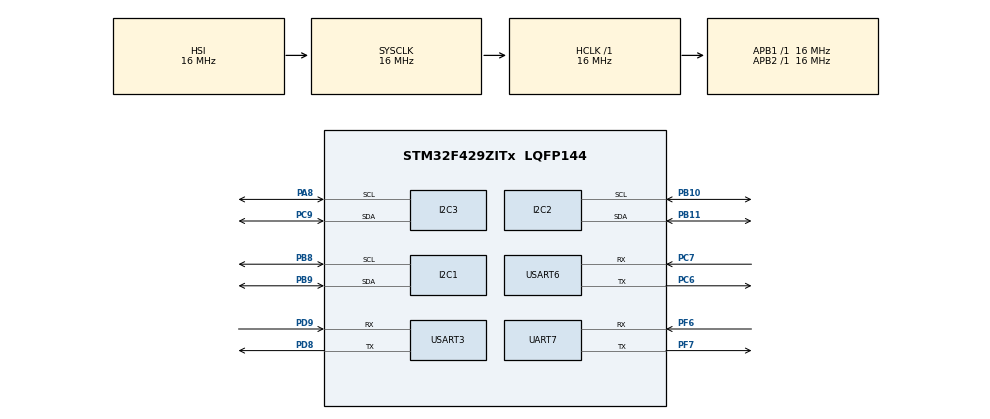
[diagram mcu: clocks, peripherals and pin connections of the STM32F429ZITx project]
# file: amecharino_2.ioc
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Mcu.Family=STM32F4
Mcu.Name=STM32F429ZITx
Mcu.Package=LQFP144
NVIC.PriorityGroup=NVIC_PRIORITYGROUP_4
NVIC.TIM3_IRQn=true\:0\:0\:false\:false\:true\:true\:true\:true
NVIC.TIM4_IRQn=true\:0\:0\:false\:false\:true\:true\:true\:true
NVIC.UART7_IRQn=true\:0\:0\:false\:false\:true\:true\:true\:true
NVIC.USART3_IRQn=true\:0\:0\:false\:false\:true\:true\:true\:true
NVIC.USART6_IRQn=true\:0\:0\:false\:false\:true\:true\:true\:true
PA8.Mode=I2C
PA8.Signal=I2C3_SCL
PB10.Mode=I2C
PB10.Signal=I2C2_SCL
PB11.Mode=I2C
PB11.Signal=I2C2_SDA
PB8.Mode=I2C
PB8.Signal=I2C1_SCL
PB9.Mode=I2C
PB9.Signal=I2C1_SDA
PC6.Mode=Asynchronous
PC6.Signal=USART6_TX
PC7.Mode=Asynchronous
PC7.Signal=USART6_RX
PC9.Mode=I2C
PC9.Signal=I2C3_SDA
PD8.Mode=Asynchronous
PD8.Signal=USART3_TX
PD9.Mode=Asynchronous
PD9.Signal=USART3_RX
PF6.Mode=Asynchronous
PF6.Signal=UART7_RX
PF7.Mode=Asynchronous
PF7.Signal=UART7_TX
ProjectManager.HeapSize=0x200
ProjectManager.StackSize=0x400
ProjectManager.TargetToolchain=STM32CubeIDE
RCC.AHBFreq_Value=16000000
RCC.APB1Freq_Value=16000000
RCC.APB2Freq_Value=16000000
RCC.CortexFreq_Value=16000000
RCC.HSE_VALUE=25000000
RCC.HSI_VALUE=16000000
RCC.LSE_VALUE=32768
RCC.SYSCLKFreq_VALUE=16000000
RCC.VCOOutputFreq_Value=192000000
TIM3.Prescaler=1599
TIM4.Prescaler=1599
UART7.VirtualMode=Asynchronous
USART3.VirtualMode=VM_ASYNC
USART6.VirtualMode=VM_ASYNC
VP_TIM3_VS_ClockSourceINT.Mode=Internal
VP_TIM4_VS_ClockSourceINT.Mode=Internal
board=custom

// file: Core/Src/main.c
/* USER CODE BEGIN Header */
/**
  ******************************************************************************
  * @file           : main.c
  * @brief          : Main program body
  ******************************************************************************
  * @attention
  *
  * Copyright (c) 2025 STMicroelectronics.
  * All rights reserved.
  *
  * This software is licensed under terms that can be found in the LICENSE file
  * in the root directory of this software component.
  * If no LICENSE file comes with this software, it is provided AS-IS.
  *
  ******************************************************************************
  */
/* USER CODE END Header */
#include "main.h"

/* USER CODE BEGIN Includes */
#include "bno055_stm32.h"
#include "VL53L0X.h"
#include "pca9685.h"
#include <stdio.h>
#include <string.h>
#include <math.h>
/* USER CODE END Includes */

/* USER CODE BEGIN PD */
#define TRUE 1
#define FALSE 0
/* USER CODE END PD */

I2C_HandleTypeDef hi2c1;
I2C_HandleTypeDef hi2c2;
I2C_HandleTypeDef hi2c3;

TIM_HandleTypeDef htim3;
TIM_HandleTypeDef htim4;

UART_HandleTypeDef huart7;
UART_HandleTypeDef huart3;
UART_HandleTypeDef huart6;

/* USER CODE BEGIN PV */
static uint8_t rx_data_3;
static uint8_t rx_data_6;
static uint8_t serialBuf[100];

static uint8_t ir_flag        = 0;
static uint8_t servo_open     = 0;
static uint8_t servo_close    = 0;
static uint8_t lifting_check  = 0;

static uint8_t left_flag      = 0;
static uint8_t right_flag     = 0;
static uint8_t forward_flag   = 0;
static uint8_t backward_flag  = 0;

static float heading          = 0.0f;
static float init_heading     = 0.0f;
static float raw_3            = 0.0f;
static float raw_4            = 0.0f;
static float delta_3          = 0.0f;
static float delta_4          = 0.0f;

static uint8_t delta_count          = 0;
static uint8_t correcting_direction = 0;
static uint8_t stop_sent            = 0;
static uint8_t return_mode          = 0;
/* USER CODE END PV */

void SystemClock_Config(void);
static void MX_GPIO_Init(void);
static void MX_I2C1_Init(void);
static void MX_I2C2_Init(void);
static void MX_I2C3_Init(void);
static void MX_UART7_Init(void);
static void MX_USART3_UART_Init(void);
static void MX_TIM3_Init(void);
static void MX_USART6_UART_Init(void);
static void MX_TIM4_Init(void);

int main(void)
{

  /* MCU Configuration--------------------------------------------------------*/

  /* Reset of all peripherals, Initializes the Flash interface and the Systick. */
  HAL_Init();

  /* Configure the system clock */
  SystemClock_Config();

  /* Initialize all configured peripherals */
  MX_GPIO_Init();
  MX_I2C1_Init();
  MX_I2C2_Init();
  MX_I2C3_Init();
  MX_UART7_Init();
  MX_USART3_UART_Init();
  MX_TIM3_Init();
  MX_USART6_UART_Init();
  MX_TIM4_Init();
  /* USER CODE BEGIN 2 */
  HAL_UART_Receive_IT(&huart6, &rx_data_6, 1);
  HAL_UART_Receive_IT(&huart3, &rx_data_3, 1);

  char msgBuffer[52];
  for (uint8_t i = 0; i < 52; i++) {
	  msgBuffer[i] = ' ';
  }

  PCA9685_Init(50); // 50Hz
  bno055_assignI2C(&hi2c2);
  bno055_setup();
  bno055_setOperationModeNDOF();

  sprintf(msgBuffer, "BNO start \r\n");
  HAL_UART_Transmit(&huart3, (uint8_t*) msgBuffer, strlen(msgBuffer), 50);

  HAL_Delay(20);
  PCA9685_Init(50); // 50Hz

  PCA9685_SetServoAngle(0, 123);
  PCA9685_SetServoAngle(1, 110);	//오른쪽 위
  PCA9685_SetServoAngle(2, 115);    //왼쪽 아래
  PCA9685_SetServoAngle(3, 117);
  HAL_Delay(500);

	sprintf(msgBuffer, "Servo start \r\n");
	HAL_UART_Transmit(&huart3, (uint8_t*) msgBuffer, strlen(msgBuffer), 50);

  //Initialise the VL53L0X
  statInfo_t_VL53L0X distanceStr;
  initVL53L0X(1, &hi2c3);
  startContinuous(20);

  sprintf(msgBuffer, "VL53L0X start \r\n");
  	HAL_UART_Transmit(&huart3, (uint8_t*) msgBuffer, strlen(msgBuffer), 50);

  /* USER CODE END 2 */

  /* Infinite loop */
  /* USER CODE BEGIN WHILE */
  while (1)
  {

	  if (IR_flag == 1) {
	      uint8_t distance = readRangeSingleMillimeters(&distanceStr);
	      sprintf(msgBuffer, "Distance: %d\r\n", distance);
	      HAL_UART_Transmit(&huart3, (uint8_t*) msgBuffer, strlen(msgBuffer), 50);
	      HAL_Delay(20);

	      if (distance < 180) {
	          IR_flag = 0;
	          sprintf((char *)serialBuf, "9");
	          HAL_UART_Transmit(&huart6, serialBuf, strlen((char *)serialBuf), HAL_MAX_DELAY);
	      }
	  }

	  else if (Servo_open == 1) {

	      for (uint8_t i = 0; i <= 97; i++) {

 	          PCA9685_SetServoAngle(0, 123 - i);
 	          PCA9685_SetServoAngle(1, 110 + i);
 	          PCA9685_SetServoAngle(2, 115 + i);
 	          PCA9685_SetServoAngle(3, 117 - i);
	          HAL_Delay(10);
	      }

	      Servo_open = 0;
	      Lifting_check = 1;

	  }

	  else if (Servo_close == 1) {

	      for (uint8_t i = 0; i <= 97; i++) {

	          PCA9685_SetServoAngle(0, 26 + i);
			  PCA9685_SetServoAngle(1, 207 -  i);
			  PCA9685_SetServoAngle(2, 212 - i);
			  PCA9685_SetServoAngle(3, 20 + i);
			  HAL_Delay(10);
	      }

	      Servo_close = 0;
	      Lifting_check = 0;

	  }

    /* USER CODE END WHILE */

  }
}

void SystemClock_Config(void)
{
  RCC_OscInitTypeDef RCC_OscInitStruct = {0};
  RCC_ClkInitTypeDef RCC_ClkInitStruct = {0};

  /** Configure the main internal regulator output voltage
  */
  __HAL_RCC_PWR_CLK_ENABLE();
  __HAL_PWR_VOLTAGESCALING_CONFIG(PWR_REGULATOR_VOLTAGE_SCALE3);

  /** Initializes the RCC Oscillators according to the specified parameters
  * in the RCC_OscInitTypeDef structure.
  */
  RCC_OscInitStruct.OscillatorType = RCC_OSCILLATORTYPE_HSI;
  RCC_OscInitStruct.HSIState = RCC_HSI_ON;
  RCC_OscInitStruct.HSICalibrationValue = RCC_HSICALIBRATION_DEFAULT;
  RCC_OscInitStruct.PLL.PLLState = RCC_PLL_NONE;
  if (HAL_RCC_OscConfig(&RCC_OscInitStruct) != HAL_OK)
  {
    Error_Handler();
  }

  /** Initializes the CPU, AHB and APB buses clocks
  */
  RCC_ClkInitStruct.ClockType = RCC_CLOCKTYPE_HCLK|RCC_CLOCKTYPE_SYSCLK
                              |RCC_CLOCKTYPE_PCLK1|RCC_CLOCKTYPE_PCLK2;
  RCC_ClkInitStruct.SYSCLKSource = RCC_SYSCLKSOURCE_HSI;
  RCC_ClkInitStruct.AHBCLKDivider = RCC_SYSCLK_DIV1;
  RCC_ClkInitStruct.APB1CLKDivider = RCC_HCLK_DIV1;
  RCC_ClkInitStruct.APB2CLKDivider = RCC_HCLK_DIV1;

  if (HAL_RCC_ClockConfig(&RCC_ClkInitStruct, FLASH_LATENCY_0) != HAL_OK)
  {
    Error_Handler();
  }
}

static void MX_I2C1_Init(void)
{

  hi2c1.Instance = I2C1;
  hi2c1.Init.ClockSpeed = 100000;
  hi2c1.Init.DutyCycle = I2C_DUTYCYCLE_2;
  hi2c1.Init.OwnAddress1 = 0;
  hi2c1.Init.AddressingMode = I2C_ADDRESSINGMODE_7BIT;
  hi2c1.Init.DualAddressMode = I2C_DUALADDRESS_DISABLE;
  hi2c1.Init.OwnAddress2 = 0;
  hi2c1.Init.GeneralCallMode = I2C_GENERALCALL_DISABLE;
  hi2c1.Init.NoStretchMode = I2C_NOSTRETCH_DISABLE;
  if (HAL_I2C_Init(&hi2c1) != HAL_OK)
  {
    Error_Handler();
  }

  /** Configure Analogue filter
  */
  if (HAL_I2CEx_ConfigAnalogFilter(&hi2c1, I2C_ANALOGFILTER_ENABLE) != HAL_OK)
  {
    Error_Handler();
  }

  /** Configure Digital filter
  */
  if (HAL_I2CEx_ConfigDigitalFilter(&hi2c1, 0) != HAL_OK)
  {
    Error_Handler();
  }

}

static void MX_I2C2_Init(void)
{

  hi2c2.Instance = I2C2;
  hi2c2.Init.ClockSpeed = 100000;
  hi2c2.Init.DutyCycle = I2C_DUTYCYCLE_2;
  hi2c2.Init.OwnAddress1 = 0;
  hi2c2.Init.AddressingMode = I2C_ADDRESSINGMODE_7BIT;
  hi2c2.Init.DualAddressMode = I2C_DUALADDRESS_DISABLE;
  hi2c2.Init.OwnAddress2 = 0;
  hi2c2.Init.GeneralCallMode = I2C_GENERALCALL_DISABLE;
  hi2c2.Init.NoStretchMode = I2C_NOSTRETCH_DISABLE;
  if (HAL_I2C_Init(&hi2c2) != HAL_OK)
  {
    Error_Handler();
  }

  /** Configure Analogue filter
  */
  if (HAL_I2CEx_ConfigAnalogFilter(&hi2c2, I2C_ANALOGFILTER_ENABLE) != HAL_OK)
  {
    Error_Handler();
  }

  /** Configure Digital filter
  */
  if (HAL_I2CEx_ConfigDigitalFilter(&hi2c2, 0) != HAL_OK)
  {
    Error_Handler();
  }

}

static void MX_I2C3_Init(void)
{

  hi2c3.Instance = I2C3;
  hi2c3.Init.ClockSpeed = 100000;
  hi2c3.Init.DutyCycle = I2C_DUTYCYCLE_2;
  hi2c3.Init.OwnAddress1 = 0;
  hi2c3.Init.AddressingMode = I2C_ADDRESSINGMODE_7BIT;
  hi2c3.Init.DualAddressMode = I2C_DUALADDRESS_DISABLE;
  hi2c3.Init.OwnAddress2 = 0;
  hi2c3.Init.GeneralCallMode = I2C_GENERALCALL_DISABLE;
  hi2c3.Init.NoStretchMode = I2C_NOSTRETCH_DISABLE;
  if (HAL_I2C_Init(&hi2c3) != HAL_OK)
  {
    Error_Handler();
  }

  /** Configure Analogue filter
  */
  if (HAL_I2CEx_ConfigAnalogFilter(&hi2c3, I2C_ANALOGFILTER_ENABLE) != HAL_OK)
  {
    Error_Handler();
  }

  /** Configure Digital filter
  */
  if (HAL_I2CEx_ConfigDigitalFilter(&hi2c3, 0) != HAL_OK)
  {
    Error_Handler();
  }

}

static void MX_TIM3_Init(void)
{

  TIM_ClockConfigTypeDef sClockSourceConfig = {0};
  TIM_MasterConfigTypeDef sMasterConfig = {0};

  htim3.Instance = TIM3;
  htim3.Init.Prescaler = 1599;
  htim3.Init.CounterMode = TIM_COUNTERMODE_UP;
  htim3.Init.Period = 199;
  htim3.Init.ClockDivision = TIM_CLOCKDIVISION_DIV1;
  htim3.Init.AutoReloadPreload = TIM_AUTORELOAD_PRELOAD_DISABLE;
  if (HAL_TIM_Base_Init(&htim3) != HAL_OK)
  {
    Error_Handler();
  }
  sClockSourceConfig.ClockSource = TIM_CLOCKSOURCE_INTERNAL;
  if (HAL_TIM_ConfigClockSource(&htim3, &sClockSourceConfig) != HAL_OK)
  {
    Error_Handler();
  }
  sMasterConfig.MasterOutputTrigger = TIM_TRGO_RESET;
  sMasterConfig.MasterSlaveMode = TIM_MASTERSLAVEMODE_DISABLE;
  if (HAL_TIMEx_MasterConfigSynchronization(&htim3, &sMasterConfig) != HAL_OK)
  {
    Error_Handler();
  }

}

static void MX_TIM4_Init(void)
{

  TIM_ClockConfigTypeDef sClockSourceConfig = {0};
  TIM_MasterConfigTypeDef sMasterConfig = {0};

  htim4.Instance = TIM4;
  htim4.Init.Prescaler = 1599;
  htim4.Init.CounterMode = TIM_COUNTERMODE_UP;
  htim4.Init.Period = 199;
  htim4.Init.ClockDivision = TIM_CLOCKDIVISION_DIV1;
  htim4.Init.AutoReloadPreload = TIM_AUTORELOAD_PRELOAD_DISABLE;
  if (HAL_TIM_Base_Init(&htim4) != HAL_OK)
  {
    Error_Handler();
  }
  sClockSourceConfig.ClockSource = TIM_CLOCKSOURCE_INTERNAL;
  if (HAL_TIM_ConfigClockSource(&htim4, &sClockSourceConfig) != HAL_OK)
  {
    Error_Handler();
  }
  sMasterConfig.MasterOutputTrigger = TIM_TRGO_RESET;
  sMasterConfig.MasterSlaveMode = TIM_MASTERSLAVEMODE_DISABLE;
  if (HAL_TIMEx_MasterConfigSynchronization(&htim4, &sMasterConfig) != HAL_OK)
  {
    Error_Handler();
  }

}

static void MX_UART7_Init(void)
{

  huart7.Instance = UART7;
  huart7.Init.BaudRate = 115200;
  huart7.Init.WordLength = UART_WORDLENGTH_8B;
  huart7.Init.StopBits = UART_STOPBITS_1;
  huart7.Init.Parity = UART_PARITY_NONE;
  huart7.Init.Mode = UART_MODE_TX_RX;
  huart7.Init.HwFlowCtl = UART_HWCONTROL_NONE;
  huart7.Init.OverSampling = UART_OVERSAMPLING_16;
  if (HAL_UART_Init(&huart7) != HAL_OK)
  {
    Error_Handler();
  }

}

static void MX_USART3_UART_Init(void)
{

  huart3.Instance = USART3;
  huart3.Init.BaudRate = 115200;
  huart3.Init.WordLength = UART_WORDLENGTH_8B;
  huart3.Init.StopBits = UART_STOPBITS_1;
  huart3.Init.Parity = UART_PARITY_NONE;
  huart3.Init.Mode = UART_MODE_TX_RX;
  huart3.Init.HwFlowCtl = UART_HWCONTROL_NONE;
  huart3.Init.OverSampling = UART_OVERSAMPLING_16;
  if (HAL_UART_Init(&huart3) != HAL_OK)
  {
    Error_Handler();
  }

}

static void MX_USART6_UART_Init(void)
{

  huart6.Instance = USART6;
  huart6.Init.BaudRate = 115200;
  huart6.Init.WordLength = UART_WORDLENGTH_8B;
  huart6.Init.StopBits = UART_STOPBITS_1;
  huart6.Init.Parity = UART_PARITY_NONE;
  huart6.Init.Mode = UART_MODE_TX_RX;
  huart6.Init.HwFlowCtl = UART_HWCONTROL_NONE;
  huart6.Init.OverSampling = UART_OVERSAMPLING_16;
  if (HAL_UART_Init(&huart6) != HAL_OK)
  {
    Error_Handler();
  }

}

static void MX_GPIO_Init(void)
{

  /* GPIO Ports Clock Enable */
  __HAL_RCC_GPIOF_CLK_ENABLE();
  __HAL_RCC_GPIOB_CLK_ENABLE();
  __HAL_RCC_GPIOD_CLK_ENABLE();
  __HAL_RCC_GPIOC_CLK_ENABLE();
  __HAL_RCC_GPIOA_CLK_ENABLE();

}

/* USER CODE BEGIN 4 */
void HAL_TIM_PeriodElapsedCallback(TIM_HandleTypeDef *htim) {

    if (htim->Instance == TIM3)	//회전 각도 값 받아오기
    {

        bno055_vector_t v = bno055_getVectorEuler();
        raw_3 = v.x - heading;

        // -180 ~ 180 범위로 보정
        if (raw_3 > 180.0f)
            raw_3 -= 360.0f;
        else if (raw_3 < -180.0f)
            raw_3 += 360.0f;

        delta_3 = fabsf(raw_3);

        // 멈춤 조건: 방향 상관없이 90도 이상 회전 시
        if ((delta_3 >= 89.1f &&  Lifting_check == 0) || (delta_3 >= 88.5f &&  Lifting_check == 1)) {
            delta_count++;
        }

        if (delta_count >= 2) {
        	if(stop_sent == 0)
        	{
				sprintf((char *)serialBuf, "4");	//동작 정지 신
				HAL_UART_Transmit(&huart6, serialBuf, strlen((char *)serialBuf), HAL_MAX_DELAY);
        	}

            HAL_TIM_Base_Stop_IT(&htim3);
             Left_flag = 0;
             Right_flag = 0;
             stop_sent = 1;
            delta_count = 0;

        }
    }

    else if (htim->Instance == TIM4) {	//주행중 각도 보정
        bno055_vector_t v = bno055_getVectorEuler();
         raw_4 = v.x - heading;

         if (raw_4 > 180.0f)
             raw_4 -= 360.0f;
         else if (raw_4 < -180.0f)
             raw_4 += 360.0f;

         delta_4 = raw_4;
         if (return_mode == 0) {
			if (correcting_direction == 0) {
				if (delta_4 >= 1.2f) { // 오른쪽으로 휨
					sprintf((char *)serialBuf, "5"); // 왼쪽 회전 시작
					HAL_UART_Transmit(&huart6, serialBuf, strlen((char *)serialBuf), HAL_MAX_DELAY);
					correcting_direction = 1;
				} else if (delta_4 <= -1.2f) { // 왼쪽으로 휨
					sprintf((char *)serialBuf, "6"); // 오른쪽 회전 시작
					HAL_UART_Transmit(&huart6, serialBuf, strlen((char *)serialBuf), HAL_MAX_DELAY);
					correcting_direction = 2;
				}
			} else if (correcting_direction == 1) { // 오른쪽 회전 중
				if (delta_4 <= 0.3f) {
					if (Forward_flag == 1) {
						sprintf((char *)serialBuf, "7"); // 다음 명령(전진)
						HAL_UART_Transmit(&huart6, serialBuf, strlen((char *)serialBuf), HAL_MAX_DELAY);
						correcting_direction = 0; // 상태 초기화
					} else if (Backward_flag == 1) {
						sprintf((char *)serialBuf, "8"); // 다음 명령(후진)
						HAL_UART_Transmit(&huart6, serialBuf, strlen((char *)serialBuf), HAL_MAX_DELAY);
						correcting_direction = 0; // 상태 초기화
					}
				}
			} else if (correcting_direction == 2) { // 왼쪽 회전 중
				if (delta_4 >= -0.3f) {
					if (Forward_flag == 1) {
						sprintf((char *)serialBuf, "7"); // 다음 명령(전진)
						HAL_UART_Transmit(&huart6, serialBuf, strlen((char *)serialBuf), HAL_MAX_DELAY);
						correcting_direction = 0; // 상태 초기화
					} else if (Backward_flag == 1) {
						sprintf((char *)serialBuf, "8"); // 다음 명령(후진)
						HAL_UART_Transmit(&huart6, serialBuf, strlen((char *)serialBuf), HAL_MAX_DELAY);
						correcting_direction = 0; // 상태 초기화
					}
				}
			}
         }
	 else if (return_mode == 1) {
			 /* ===== 초기 heading으로 복귀 ===== */
			 float delta = raw_4;

			 if (fabsf(delta) < 0.5f) {
				 // 오차 1도 이내 → 복귀 완료
				 sprintf((char *)serialBuf, "4"); // 다음 명령(후진)
				 HAL_UART_Transmit(&huart6, serialBuf, strlen((char *)serialBuf), HAL_MAX_DELAY);

				 HAL_TIM_Base_Stop_IT(&htim4);
				 return_mode = 0;  // 모드 종료
			 } else {
				 if (delta > 0) {
					 sprintf((char*)serialBuf, "5"); // 왼쪽으로 회전
					 HAL_UART_Transmit(&huart6, serialBuf, strlen((char*)serialBuf), HAL_MAX_DELAY);
				 } else {
					 sprintf((char*)serialBuf, "6"); // 오른쪽으로 회전
					 HAL_UART_Transmit(&huart6, serialBuf, strlen((char*)serialBuf), HAL_MAX_DELAY);
				 }
			 }
		 }
    }

}

void HAL_UART_RxCpltCallback(UART_HandleTypeDef *huart) {
    if (huart->Instance == USART6) {
        if (rx_data_6 == '1') {
            IR_flag = 1;

        }

        else if (rx_data_6 == '2') {
            Linear_flag = 1;
        }

        else if (rx_data_6 == '3') { // 레프트턴
        	HAL_TIM_Base_Stop_IT(&htim4);
        	stop_sent = 0;
            Left_flag = 1;
			Right_flag = 0;
			heading = bno055_getVectorEuler().x;
			HAL_TIM_Base_Start_IT(&htim3);
        }

        else if (rx_data_6 == '4') { // 라이트턴
        	HAL_TIM_Base_Stop_IT(&htim4);
        	stop_sent = 0;
        	Left_flag = 0;
            Right_flag = 1;
            heading = bno055_getVectorEuler().x;
            HAL_TIM_Base_Start_IT(&htim3);
        }

        else if (rx_data_6 == '5') {
            Forward_flag = 1;
            Backward_flag = 0;
			heading = bno055_getVectorEuler().x;
            HAL_TIM_Base_Start_IT(&htim4);
        }

        else if (rx_data_6 == '6') {
            Forward_flag = 0;
            Backward_flag = 1;
			heading = bno055_getVectorEuler().x;
            HAL_TIM_Base_Start_IT(&htim4);
        }

        else if (rx_data_6 == '7') {
        	HAL_TIM_Base_Stop_IT(&htim4);
        	HAL_TIM_Base_Stop_IT(&htim3);

		// 회전 변수 초기화
			delta_count = 0;
			raw_3 = 0.0f;
			Left_flag = 0;
			Right_flag = 0;

			// 보정 변수 초기화
			correcting_direction = 0;
			raw_4 = 0.0f;
			Forward_flag = 0;
			Backward_flag = 0;

			// 공통 delta도 초기화
			delta_3 = 0.0f;
        }

        else if (rx_data_6 == '8') {
        	Servo_close = 1;
        }

        else if (rx_data_6 == '9') {
        	Servo_open = 1;
        }
        else if (rx_data_6 == 's') {
            // 시뮬 시작 → 초기 heading 저장
            bno055_vector_t v = bno055_getVectorEuler();
            init_heading = v.x;
            return_mode = 0;  // 보정 모드 아님

        } else if (rx_data_6 == 'f') {
            // 시뮬 종료 → 초기값 복귀 모드 진입
            return_mode = 1;
            heading = init_heading;   // TIM4에서 비교 기준으로 사용
            HAL_TIM_Base_Start_IT(&htim4);  // 보정 타이머4 시작
        }
        else if (rx_data_6 == 'c') {
		   // 시뮬 종료 → 초기값 복귀 모드 진입
		   return_mode = 1;
		   heading = init_heading + 185.0f;   // TIM4에서 비교 기준으로 사용
		   HAL_TIM_Base_Start_IT(&htim4);  // 보정 타이머4 시작
	   }

        // 다음 수신 대기
        HAL_UART_Receive_IT(&huart6, &rx_data_6, 1);
    }

    else if (huart->Instance == USART3) {
        if (rx_data_3 == '1') {
            IR_flag = 1;
            sprintf((char *)serialBuf, "4");
            HAL_UART_Transmit(&huart6, serialBuf, strlen((char *)serialBuf), HAL_MAX_DELAY);
        }

        else if (rx_data_3 == '2') {
            sprintf((char *)serialBuf, "2");
            HAL_UART_Transmit(&huart6, serialBuf, strlen((char *)serialBuf), HAL_MAX_DELAY);
        }

        else if (rx_data_3 == '3') {

            HAL_TIM_Base_Start_IT(&htim3);
        }

        else if (rx_data_3 == '4') {
            sprintf((char *)serialBuf, "4");
            HAL_UART_Transmit(&huart6, serialBuf, strlen((char *)serialBuf), HAL_MAX_DELAY);
        }

        else if (rx_data_3 == '5') {
        	Servo_open = 1;
        }

        else if (rx_data_3 == '6') {
        	Servo_close = 1;
        }

        else if (rx_data_3 == '7') {
            HAL_TIM_Base_Start_IT(&htim4);
        }

        else if (rx_data_3 == '8') {
            Linear_flag = 1;
        }

        // 다음 수신 대기
        HAL_UART_Receive_IT(&huart3, &rx_data_3, 1);
    }
}

/* USER CODE END 4 */

void Error_Handler(void)
{
  __disable_irq();
  while (1)
  {
  }
}
